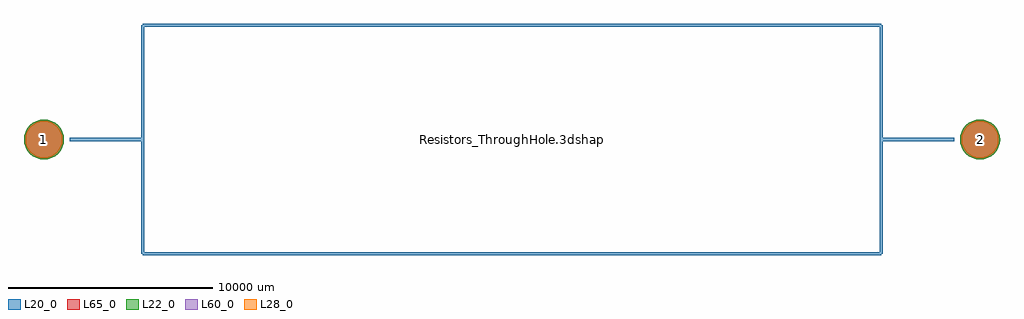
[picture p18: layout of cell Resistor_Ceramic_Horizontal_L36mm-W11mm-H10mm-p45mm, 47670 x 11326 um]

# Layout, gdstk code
import gdstk
lib = gdstk.Library(unit=1e-6, precision=1e-09)
def P(c, l, *ps):  # polygons
    for p in ps: c.add(gdstk.Polygon(p, *l))
L20_0 = (20, 0)
L22_0 = (22, 0)
L28_0 = (28, 0)
L60_0 = (60, 0)
L65_0 = (65, 0)

resistor_ceramic_horizon = lib.new_cell('Resistor_Ceramic_Horizontal_L36mm-W11mm-H10mm-p45mm')
P(resistor_ceramic_horizon, L22_0, [(23835,0),(23816.266,190.213),(23760.783,373.116),(23670.683,541.681),(23549.429,689.429),(23401.681,810.683),(23233.116,900.783),(23050.213,956.266),(22860,975),(22669.787,956.266),(22486.884,900.783),(22318.319,810.683),(22170.571,689.429),(22049.317,541.681),(21959.217,373.116),(21903.734,190.213),(21885,0),(21903.734,-190.213),(21959.217,-373.116),(22049.317,-541.681),(22170.571,-689.429),(22318.319,-810.683),(22486.884,-900.783),(22669.787,-956.266),(22860,-975),(23050.213,-956.266),(23233.116,-900.783),(23401.681,-810.683),(23549.429,-689.429),(23670.683,-541.681),(23760.783,-373.116),(23816.266,-190.213)],
  [(-21885,0),(-21903.734,190.213),(-21959.217,373.116),(-22049.317,541.681),(-22170.571,689.429),(-22318.319,810.683),(-22486.884,900.783),(-22669.787,956.266),(-22860,975),(-23050.213,956.266),(-23233.116,900.783),(-23401.681,810.683),(-23549.429,689.429),(-23670.683,541.681),(-23760.783,373.116),(-23816.266,190.213),(-23835,0),(-23816.266,-190.213),(-23760.783,-373.116),(-23670.683,-541.681),(-23549.429,-689.429),(-23401.681,-810.683),(-23233.116,-900.783),(-23050.213,-956.266),(-22860,-975),(-22669.787,-956.266),(-22486.884,-900.783),(-22318.319,-810.683),(-22170.571,-689.429),(-22049.317,-541.681),(-21959.217,-373.116),(-21903.734,-190.213)])
P(resistor_ceramic_horizon, L28_0, [(23760,0),(23742.707,175.581),(23691.492,344.415),(23608.323,500.013),(23496.396,636.396),(23360.013,748.323),(23204.415,831.492),(23035.581,882.707),(22860,900),(22684.419,882.707),(22515.585,831.492),(22359.987,748.323),(22223.604,636.396),(22111.677,500.013),(22028.508,344.415),(21977.293,175.581),(21960,0),(21977.293,-175.581),(22028.508,-344.415),(22111.677,-500.013),(22223.604,-636.396),(22359.987,-748.323),(22515.585,-831.492),(22684.419,-882.707),(22860,-900),(23035.581,-882.707),(23204.415,-831.492),(23360.013,-748.323),(23496.396,-636.396),(23608.323,-500.013),(23691.492,-344.415),(23742.707,-175.581)],
  [(-21960,0),(-21977.293,175.581),(-22028.508,344.415),(-22111.677,500.013),(-22223.604,636.396),(-22359.987,748.323),(-22515.585,831.492),(-22684.419,882.707),(-22860,900),(-23035.581,882.707),(-23204.415,831.492),(-23360.013,748.323),(-23496.396,636.396),(-23608.323,500.013),(-23691.492,344.415),(-23742.707,175.581),(-23760,0),(-23742.707,-175.581),(-23691.492,-344.415),(-23608.323,-500.013),(-23496.396,-636.396),(-23360.013,-748.323),(-23204.415,-831.492),(-23035.581,-882.707),(-22860,-900),(-22684.419,-882.707),(-22515.585,-831.492),(-22359.987,-748.323),(-22223.604,-636.396),(-22111.677,-500.013),(-22028.508,-344.415),(-21977.293,-175.581)])
P(resistor_ceramic_horizon, L60_0, [(23760,0),(23742.707,175.581),(23691.492,344.415),(23608.323,500.013),(23496.396,636.396),(23360.013,748.323),(23204.415,831.492),(23035.581,882.707),(22860,900),(22684.419,882.707),(22515.585,831.492),(22359.987,748.323),(22223.604,636.396),(22111.677,500.013),(22028.508,344.415),(21977.293,175.581),(21960,0),(21977.293,-175.581),(22028.508,-344.415),(22111.677,-500.013),(22223.604,-636.396),(22359.987,-748.323),(22515.585,-831.492),(22684.419,-882.707),(22860,-900),(23035.581,-882.707),(23204.415,-831.492),(23360.013,-748.323),(23496.396,-636.396),(23608.323,-500.013),(23691.492,-344.415),(23742.707,-175.581)],
  [(-21960,0),(-21977.293,175.581),(-22028.508,344.415),(-22111.677,500.013),(-22223.604,636.396),(-22359.987,748.323),(-22515.585,831.492),(-22684.419,882.707),(-22860,900),(-23035.581,882.707),(-23204.415,831.492),(-23360.013,748.323),(-23496.396,636.396),(-23608.323,500.013),(-23691.492,344.415),(-23742.707,175.581),(-23760,0),(-23742.707,-175.581),(-23691.492,-344.415),(-23608.323,-500.013),(-23496.396,-636.396),(-23360.013,-748.323),(-23204.415,-831.492),(-23035.581,-882.707),(-22860,-900),(-22684.419,-882.707),(-22515.585,-831.492),(-22359.987,-748.323),(-22223.604,-636.396),(-22111.677,-500.013),(-22028.508,-344.415),(-21977.293,-175.581)])
P(resistor_ceramic_horizon, L65_0, [(23835,0),(23816.266,190.213),(23760.783,373.116),(23670.683,541.681),(23549.429,689.429),(23401.681,810.683),(23233.116,900.783),(23050.213,956.266),(22860,975),(22669.787,956.266),(22486.884,900.783),(22318.319,810.683),(22170.571,689.429),(22049.317,541.681),(21959.217,373.116),(21903.734,190.213),(21885,0),(21903.734,-190.213),(21959.217,-373.116),(22049.317,-541.681),(22170.571,-689.429),(22318.319,-810.683),(22486.884,-900.783),(22669.787,-956.266),(22860,-975),(23050.213,-956.266),(23233.116,-900.783),(23401.681,-810.683),(23549.429,-689.429),(23670.683,-541.681),(23760.783,-373.116),(23816.266,-190.213)],
  [(-21885,0),(-21903.734,190.213),(-21959.217,373.116),(-22049.317,541.681),(-22170.571,689.429),(-22318.319,810.683),(-22486.884,900.783),(-22669.787,956.266),(-22860,975),(-23050.213,956.266),(-23233.116,900.783),(-23401.681,810.683),(-23549.429,689.429),(-23670.683,541.681),(-23760.783,373.116),(-23816.266,190.213),(-23835,0),(-23816.266,-190.213),(-23760.783,-373.116),(-23670.683,-541.681),(-23549.429,-689.429),(-23401.681,-810.683),(-23233.116,-900.783),(-23050.213,-956.266),(-22860,-975),(-22669.787,-956.266),(-22486.884,-900.783),(-22318.319,-810.683),(-22170.571,-689.429),(-22049.317,-541.681),(-21959.217,-373.116),(-21903.734,-190.213)])
resistor_ceramic_horizon.add(gdstk.FlexPath([(18034,5588),(-18034,5588)], 149.998, ends="flush", simple_path=True, layer=20, datatype=0))  # L20_0
resistor_ceramic_horizon.add(gdstk.FlexPath([(18034,-5588),(18034,5588)], 149.998, ends="flush", simple_path=True, layer=20, datatype=0))  # L20_0
resistor_ceramic_horizon.add(gdstk.FlexPath([(-18034,-5588),(18034,-5588)], 149.998, ends="flush", simple_path=True, layer=20, datatype=0))  # L20_0
resistor_ceramic_horizon.add(gdstk.FlexPath([(-18034,5588),(-18034,-5588)], 149.998, ends="flush", simple_path=True, layer=20, datatype=0))  # L20_0
resistor_ceramic_horizon.add(gdstk.FlexPath([(-18034,0),(-21590,0)], 149.998, ends="flush", simple_path=True, layer=20, datatype=0))  # L20_0
resistor_ceramic_horizon.add(gdstk.FlexPath([(18034,0),(21590,0)], 149.998, ends="flush", simple_path=True, layer=20, datatype=0))  # L20_0
resistor_ceramic_horizon.add(gdstk.Label('Resistors_ThroughHole.3dshapes/Resistor_Ceramic_Horizontal_L36mm-W11mm-H10mm-p45mm.wrl', (0,0), layer=12, texttype=0))
resistor_ceramic_horizon.add(gdstk.Label('2', (22860,0), layer=28, texttype=0))
resistor_ceramic_horizon.add(gdstk.Label('1', (-22860,0), layer=28, texttype=0))
resistor_ceramic_horizon.add(gdstk.Label('type', (-635,-7620), layer=9, texttype=0))
resistor_ceramic_horizon.add(gdstk.Label('devicename', (0,6985), layer=9, texttype=0))

lib.write_gds('Resistor_Ceramic_Horizontal_L36mm-W11mm-H10mm-p45mm.gds')
